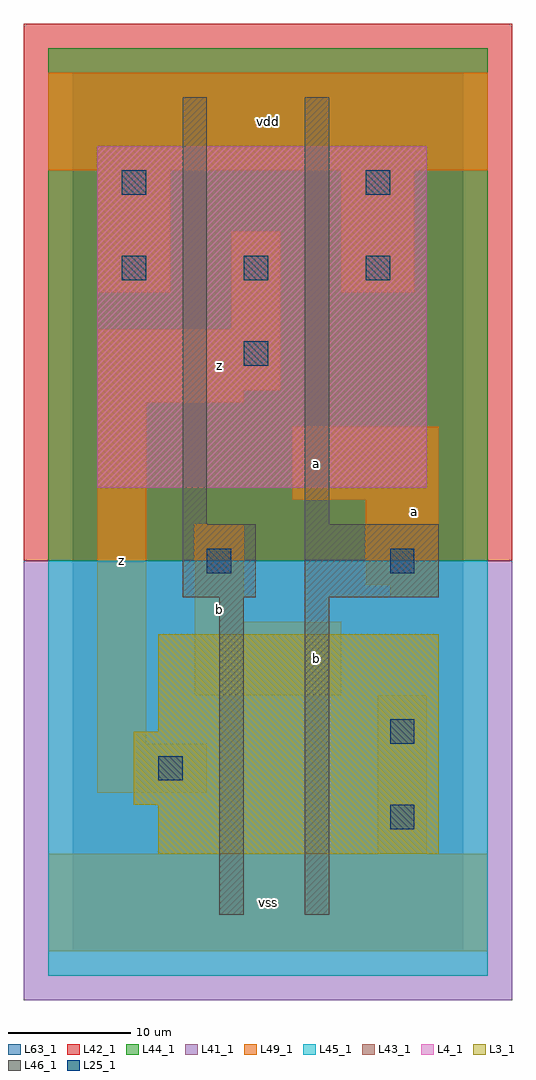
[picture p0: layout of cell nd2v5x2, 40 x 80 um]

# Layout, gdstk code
import gdstk
lib = gdstk.Library(unit=1e-6, precision=1e-09)
def R(c, l, rs):  # rectangles x0, y0, x1, y1
    for r in rs: c.add(gdstk.rectangle(r[:2], r[2:], *l))
def A(c, l, x, y, w, h, nx, ny, dx, dy):  # array of equal rectangles
    R(c, l, [(x+i*dx, y+j*dy, x+i*dx+w, y+j*dy+h) for i in range(nx) for j in range(ny)])
L3_1 = (3, 1)
L4_1 = (4, 1)
L25_1 = (25, 1)
L41_1 = (41, 1)
L42_1 = (42, 1)
L43_1 = (43, 1)
L44_1 = (44, 1)
L45_1 = (45, 1)
L46_1 = (46, 1)
L49_1 = (49, 1)
L63_1 = (63, 1)

nd2v5x2 = lib.new_cell('nd2v5x2')
R(nd2v5x2, L3_1, [(7,8,30,12), (5,12,30,18), (7,18,30,26)])
R(nd2v5x2, L4_1, [(2,38,29,66)])
A(nd2v5x2, L25_1, 4, 55, 2, 2, 3, 1, 10, 0)
R(nd2v5x2, L25_1, [(26,10,28,12), (7,14,9,16), (26,17,28,19), (11,31,13,33), (26,31,28,33), (14,48,16,50), (4,62,6,64), (24,62,26,64)])
R(nd2v5x2, L41_1, [(-4,-4,36,32)])
R(nd2v5x2, L42_1, [(-4,32,36,76)])
R(nd2v5x2, L43_1, [(7,8,30,12), (5,12,30,18), (7,18,30,26), (2,38,29,66)])
R(nd2v5x2, L44_1, [(-2,32,34,74)])
R(nd2v5x2, L45_1, [(-2,-2,34,32)])
R(nd2v5x2, L46_1, [(12,3,14,29), (19,3,21,29), (9,29,15,35), (19,29,30,35), (9,35,11,70), (19,35,21,70)])
R(nd2v5x2, L49_1, [(-2,0,34,8), (25,8,29,21), (2,13,11,17), (2,17,6,45), (10,21,22,27), (10,27,14,35), (26,29,30,30), (24,30,30,37), (18,37,30,43), (2,45,14,46), (2,46,17,51), (13,51,17,59), (2,54,8,64), (22,54,28,64), (-2,64,34,72)])
R(nd2v5x2, L63_1, [(0,0,32,72)])
nd2v5x2.add(gdstk.Label('z', (4,32), layer=49, texttype=1))
nd2v5x2.add(gdstk.Label('b', (12,28), layer=49, texttype=1))
nd2v5x2.add(gdstk.Label('z', (12,48), layer=49, texttype=1))
nd2v5x2.add(gdstk.Label('vss', (16,4), layer=49, texttype=1))
nd2v5x2.add(gdstk.Label('b', (20,24), layer=49, texttype=1))
nd2v5x2.add(gdstk.Label('a', (20,40), layer=49, texttype=1))
nd2v5x2.add(gdstk.Label('vdd', (16,68), layer=49, texttype=1))
nd2v5x2.add(gdstk.Label('a', (28,36), layer=49, texttype=1))

lib.write_gds('nd2v5x2.gds')
